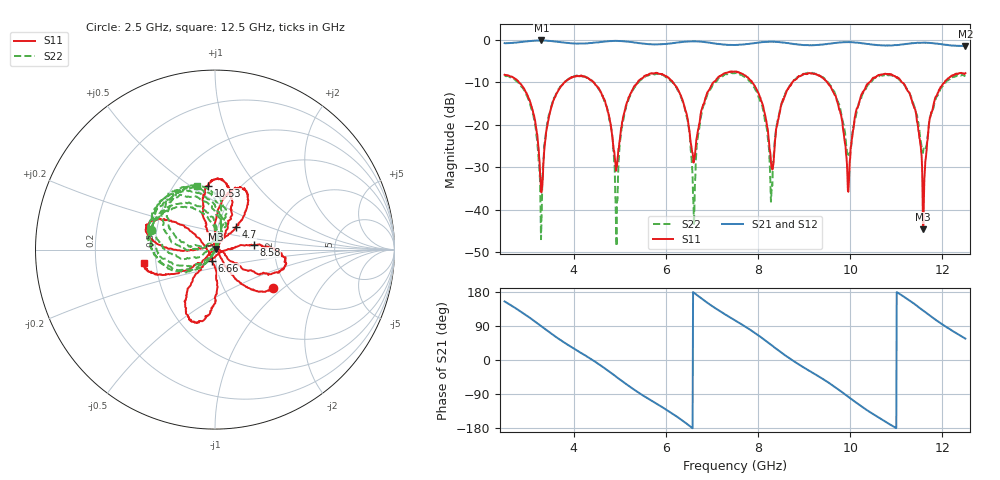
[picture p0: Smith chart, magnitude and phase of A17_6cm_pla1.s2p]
!Keysight Technologies N9950B: A.12.38
!Date: Monday, 17 April 2023 19:04:11
!Timezone: (UTC-06:00) Central Time (US & Canada)
!Model: N9950B
!Serial: MY61131330
!GPS Latitude:
!GPS Longitude:
!GPS TimeStamp: 0001-01-01 00:00:00Z
!GPS Seconds Since Last Read: 0
!CHECKSUM:1852696319
!Correction: S11(ON U)S21(ON U)S12(ON U)S22(ON U)
!S2P File: Measurements:S11,S21,S12,S22:
# Hz S DB R 50
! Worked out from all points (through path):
!   1001 points, 2.5 GHz to 12.5 GHz, reference 50 ohm
!   highest |S21| = -0.20 dB at 3.3 GHz (marker M1); lowest = -1.5 dB at 12.5 GHz (marker M2)
!   group delay of S21, straight-line fit = 228 ps
!   lowest |S11| = -44.6 dB at 11.58 GHz (marker M3), VSWR 1.01, Z = 50.5 + j0.386 ohm
!   |S11| at or under -10 dB: 2.808 GHz to 3.807 GHz (998.3 MHz wide, 30.2 % of centre); 4.426 GHz to 5.392 GHz (965.1 MHz wide, 19.7 % of centre); 11.12 GHz to 12.05 GHz (935.5 MHz wide, 8.08 % of centre)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
!   |S22| runs from -48.5 to -7.8 dB; largest |S21 - S12| = 0.014
!   S11 on the Smith chart (normalised r, x): 2.5 GHz: 1.68, -0.85; 4.7 GHz: 1.21, +0.31; 6.66 GHz: 0.96, -0.12; 8.58 GHz: 1.55, +0.09; 10.53 GHz: 0.73, +0.59; 12.5 GHz: 0.43, -0.08
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2.5e9  -8.27 -33.7  -0.83 154.5  -0.84 154.4  -8.55 162.6
3.05e9  -14.49 -55.3  -0.37 111.1  -0.36 111.0  -14.87 102.4
3.3e9  -35.90 13.1  -0.20 88.7  -0.20 88.8  -42.76 -121.1
3.55e9  -14.51 87.3  -0.40 66.5  -0.39 66.4  -14.44 -140.0
4.17e9  -8.45 64.1  -0.93 17.8  -0.91 17.8  -8.57 152.5
4.7e9  -15.39 47.8  -0.43 -24.3  -0.43 -24.4  -15.15 92.8
4.93e9  -29.54 128.5  -0.32 -44.9  -0.31 -44.8  -48.53 -87.2
5.19e9  -13.58 -178.9  -0.51 -68.0  -0.50 -68.0  -14.06 -145.6
5.84e9  -8.02 159.5  -1.10 -118.5  -1.09 -118.5  -8.08 144.3
6.66e9  -23.63 -104.9  -0.43 172.6  -0.43 172.6  -26.50 -119.0
7.5e9  -7.50 -107.4  -1.27 104.6  -1.25 104.8  -7.80 137.7
8.04e9  -13.51 -126.0  -0.66 62.0  -0.64 62.2  -14.28 81.5
8.29e9  -29.80 -74.8  -0.51 39.5  -0.50 39.5  -36.27 162.3
8.58e9  -13.28 7.1  -0.73 12.9  -0.74 13.4  -13.14 -172.3
9.17e9  -7.92 -13.3  -1.35 -32.8  -1.32 -32.2  -7.82 129.7
9.96e9  -35.76 36.6  -0.59 -97.3  -0.58 -97.3  -27.08 121.0
1.053e10  -8.94 96.0  -1.23 -145.2  -1.22 -145.7  -9.01 147.8
1.084e10  -8.17 84.6  -1.38 -168.2  -1.37 -168.1  -8.39 117.1
1.138e10  -15.65 63.1  -0.83 149.1  -0.82 148.6  -15.42 70.7
1.158e10  -44.57 40.4  -0.72 130.7  -0.69 130.7  -26.61 106.2
1.188e10  -13.16 -146.9  -0.94 103.9  -0.96 103.7  -13.36 164.7
1.25e10  -7.88 -169.0  -1.51 56.4  -1.48 56.0  -8.63 105.3
